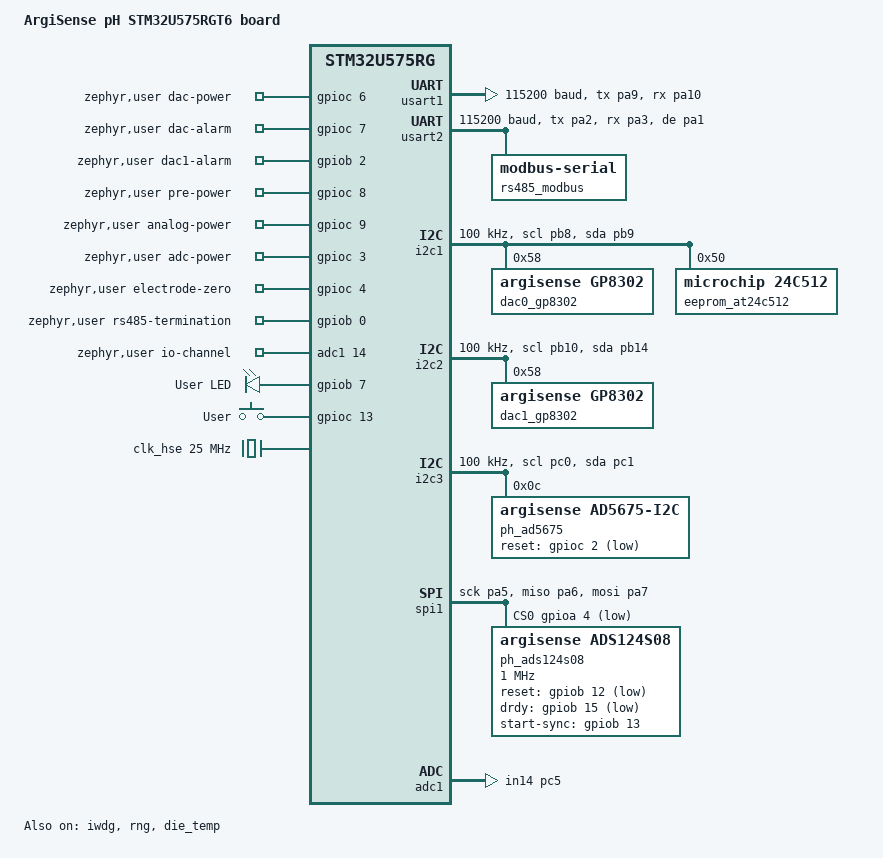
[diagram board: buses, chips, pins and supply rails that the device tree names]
/*
 * SPDX-License-Identifier: Apache-2.0
 */

/dts-v1/;

#include <st/u5/stm32u575Xg.dtsi>
#include <st/u5/stm32u575rgtx-pinctrl.dtsi>
#include <zephyr/dt-bindings/input/input-event-codes.h>

/ {
	model = "ArgiSense pH STM32U575RGT6 board";
	compatible = "argisense,stm32u575rg-ph";

	#address-cells = <1>;
	#size-cells = <1>;

	chosen {
		zephyr,console = &usart1;
		zephyr,shell-uart = &usart1;
		zephyr,sram = &sram0;
		zephyr,flash = &flash0;
		zephyr,code-partition = &slot0_partition;
		zephyr,settings-partition = &storage_partition;
	};

	aliases {
		led0 = &blue_led;
		sw0 = &user_button;
		i2c-0 = &i2c1;
		i2c-1 = &i2c2;
		i2c-2 = &i2c3;
		spi-0 = &spi1;
		current-loop-dac0 = &dac0_gp8302;
		current-loop-dac1 = &dac1_gp8302;
		eeprom0 = &eeprom_at24c512;
		rs485-uart = &usart2;
		ph-adc = &ph_ads124s08;
		ph-bias-dac = &ph_ad5675;
		ph-analog-rail = &ph_analog_rail;
		pt1000 = &ph_ads124s08;
		mcu-adc = &adc1;
		watchdog0 = &iwdg;
		die-temp0 = &die_temp;
	};

	zephyr,user {
		dac-channel-count = <2>;
		dac0-output-source = "ph";
		dac1-output-source = "temperature";
		dac-power-gpios = <&gpioc 6 GPIO_ACTIVE_HIGH>;
		dac-alarm-gpios = <&gpioc 7 GPIO_ACTIVE_HIGH>;
		dac1-alarm-gpios = <&gpiob 2 GPIO_ACTIVE_HIGH>;
		pre-power-gpios = <&gpioc 8 GPIO_ACTIVE_HIGH>;
		analog-power-gpios = <&gpioc 9 GPIO_ACTIVE_HIGH>;
		adc-power-gpios = <&gpioc 3 GPIO_ACTIVE_HIGH>;
		electrode-zero-gpios = <&gpioc 4 GPIO_ACTIVE_HIGH>;
		rs485-termination-gpios = <&gpiob 0 GPIO_ACTIVE_HIGH>;
		io-channels = <&adc1 14>;

		/*
		 * Sensor_Platform_V1 pH_V1_0 schematic metadata.
		 *
		 * This board mapping intentionally keeps USB PA11/PA12, SWD
		 * PA13/PA14, debug USART1 PA9/PA10, and RS485 USART2 PA1/PA2/PA3
		 * free from pH analog front-end traffic.
		 */
		product-variant = "pH_V1_0";
		ph-adc-part-number = "ADS124S08IPBSR";
		ph-bias-dac-part-number = "AD5675BCPZ-REEL7";
		ph-analog-rail-part-number = "LT3582EUD-5";
		ph-reference-part-number = "REF3025AIDBZR";
		ph-pt1000-idac-current-microamp = <250>;
		ph-adc-channel-labels =
			"AIN0_Vs_ISFET",
			"AIN1_Vs_REFET",
			"AIN2_PT1000_P",
			"AIN3_PT1000_N",
			"ISFET_BULK_ADC",
			"ISFET_SUBS_ADC",
			"REFET_BULK_ADC",
			"REFET_SUBS_ADC",
			"ISFET_DRAIN_ADC",
			"REFET_DRAIN_ADC",
			"GATE_BUFF_ADC";
		ph-bias-dac-channel-labels =
			"VOUT0_ID_SET_ISFET",
			"VOUT1_VDS_SET_ISFET",
			"VOUT2_ID_SET_REFET",
			"VOUT3_VDS_SET_REFET",
			"VOUT4_BULK_ISFET",
			"VOUT5_SUBS_ISFET",
			"VOUT6_BULK_REFET",
			"VOUT7_SUBS_REFET";
	};

	leds {
		compatible = "gpio-leds";

		blue_led: led_0 {
			gpios = <&gpiob 7 GPIO_ACTIVE_HIGH>;
			label = "User LED";
		};
	};

	gpio_keys {
		compatible = "gpio-keys";

		user_button: button_0 {
			label = "User";
			gpios = <&gpioc 13 (GPIO_ACTIVE_HIGH | GPIO_PULL_DOWN)>;
			zephyr,code = <INPUT_KEY_0>;
		};
	};
};

&flash0 {
	partitions {
		compatible = "fixed-partitions";
		#address-cells = <1>;
		#size-cells = <1>;

		/*
		 * STM32U575RGT6 has 1024 KiB of flash.
		 * Layout keeps MCUboot-ready slots while leaving room for storage.
		 */
		boot_partition: partition@0 {
			label = "mcuboot";
			reg = <0x00000000 DT_SIZE_K(64)>;
		};

		slot0_partition: partition@10000 {
			label = "image-0";
			reg = <0x00010000 DT_SIZE_K(448)>;
		};

		slot1_partition: partition@80000 {
			label = "image-1";
			reg = <0x00080000 DT_SIZE_K(448)>;
		};

		storage_partition: partition@f0000 {
			label = "storage";
			reg = <0x000f0000 DT_SIZE_K(64)>;
		};
	};
};

&clk_hse {
	status = "okay";
	clock-frequency = <DT_FREQ_M(25)>;
};

&pll1 {
	div-m = <5>;
	mul-n = <64>;
	div-q = <2>;
	div-r = <2>;
	clocks = <&clk_hse>;
	status = "okay";
};

&rcc {
	clocks = <&pll1>;
	clock-frequency = <DT_FREQ_M(160)>;
	ahb-prescaler = <1>;
	apb1-prescaler = <1>;
	apb2-prescaler = <1>;
	apb3-prescaler = <1>;
};

&usart1 {
	pinctrl-0 = <&usart1_tx_pa9 &usart1_rx_pa10>;
	pinctrl-names = "default";
	current-speed = <115200>;
	status = "okay";
};

&usart2 {
	pinctrl-0 = <&usart2_tx_pa2 &usart2_rx_pa3 &usart2_de_pa1>;
	pinctrl-names = "default";
	current-speed = <115200>;
	de-enable;
	status = "okay";

	rs485_modbus: modbus0 {
		compatible = "zephyr,modbus-serial";
		status = "okay";
	};
};

&i2c1 {
	pinctrl-0 = <&i2c1_scl_pb8 &i2c1_sda_pb9>;
	pinctrl-names = "default";
	clock-frequency = <I2C_BITRATE_STANDARD>;
	status = "okay";

	dac0_gp8302: dac@58 {
		compatible = "argisense,gp8302";
		reg = <0x58>;
		#io-channel-cells = <1>;
		output-source = "ph";
		max-current-microamp = <25000>;
		status = "okay";
	};

	eeprom_at24c512: eeprom@50 {
		compatible = "microchip,24c512", "atmel,at24";
		reg = <0x50>;
		size = <DT_SIZE_K(64)>;
		pagesize = <128>;
		address-width = <16>;
		timeout = <5>;
		status = "okay";
	};
};

&i2c2 {
	pinctrl-0 = <&i2c2_scl_pb10 &i2c2_sda_pb14>;
	pinctrl-names = "default";
	clock-frequency = <I2C_BITRATE_STANDARD>;
	status = "okay";

	dac1_gp8302: dac@58 {
		compatible = "argisense,gp8302";
		reg = <0x58>;
		#io-channel-cells = <1>;
		output-source = "temperature";
		max-current-microamp = <25000>;
		status = "okay";
	};

	/*
	 * The LT3582 is present on the pH analog supply sheet. Keep this node
	 * disabled until its final I2C address/programming requirement is
	 * verified. The enable pin is still mapped through analog-power-gpios.
	 */
	ph_analog_rail: analog-rail@2c {
		compatible = "argisense,lt3582";
		reg = <0x2c>;
		enable-gpios = <&gpioc 9 GPIO_ACTIVE_HIGH>;
		positive-output-millivolt = <5000>;
		negative-output-abs-millivolt = <5000>;
		startup-delay-ms = <20>;
		status = "disabled";
	};
};

&i2c3 {
	pinctrl-0 = <&i2c3_scl_pc0 &i2c3_sda_pc1>;
	pinctrl-names = "default";
	clock-frequency = <I2C_BITRATE_STANDARD>;
	status = "okay";

	ph_ad5675: ph-bias-dac@c {
		compatible = "argisense,ad5675-i2c";
		reg = <0x0c>;
		#io-channel-cells = <1>;
		reset-gpios = <&gpioc 2 GPIO_ACTIVE_LOW>;
		/*
		 * pH_V1_0 ties AD5675 LDAC* low through R73 0R and exposes TP17,
		 * so there is no MCU GPIO to map here. If a later PCB revision
		 * routes LDAC* to the MCU, add ldac-gpios.
		 */
		reference-millivolt = <2500>;
		gain = <1>;
		resolution-bits = <16>;
		channel-labels =
			"VOUT0_ID_SET_ISFET",
			"VOUT1_VDS_SET_ISFET",
			"VOUT2_ID_SET_REFET",
			"VOUT3_VDS_SET_REFET",
			"VOUT4_BULK_ISFET",
			"VOUT5_SUBS_ISFET",
			"VOUT6_BULK_REFET",
			"VOUT7_SUBS_REFET";
		status = "okay";
	};
};

&spi1 {
	pinctrl-0 = <&spi1_sck_pa5 &spi1_miso_pa6 &spi1_mosi_pa7>;
	pinctrl-names = "default";
	cs-gpios = <&gpioa 4 GPIO_ACTIVE_LOW>;
	status = "okay";

	ph_ads124s08: ph-adc@0 {
		compatible = "argisense,ads124s08";
		reg = <0>;
		spi-max-frequency = <1000000>;
		#io-channel-cells = <1>;
		reset-gpios = <&gpiob 12 GPIO_ACTIVE_LOW>;
		drdy-gpios = <&gpiob 15 GPIO_ACTIVE_LOW>;
		start-sync-gpios = <&gpiob 13 GPIO_ACTIVE_HIGH>;
		reference-millivolt = <2500>;
		idac-current-microamp = <250>;
		conversion-timeout-ms = <300>;
		pt1000-positive-input = <2>;
		pt1000-negative-input = <3>;
		channel-labels =
			"AIN0_Vs_ISFET",
			"AIN1_Vs_REFET",
			"AIN2_PT1000_P",
			"AIN3_PT1000_N",
			"ISFET_BULK_ADC",
			"ISFET_SUBS_ADC",
			"REFET_BULK_ADC",
			"REFET_SUBS_ADC",
			"ISFET_DRAIN_ADC",
			"REFET_DRAIN_ADC",
			"GATE_BUFF_ADC";
		status = "okay";
	};
};

&adc1 {
	pinctrl-0 = <&adc1_in14_pc5>;
	pinctrl-names = "default";
	st,adc-clock-source = "ASYNC";
	st,adc-prescaler = <4>;
	vref-mv = <3300>;
	status = "okay";
};

&iwdg {
	status = "okay";
};

&rng {
	status = "okay";
};

&die_temp {
	status = "okay";
};
